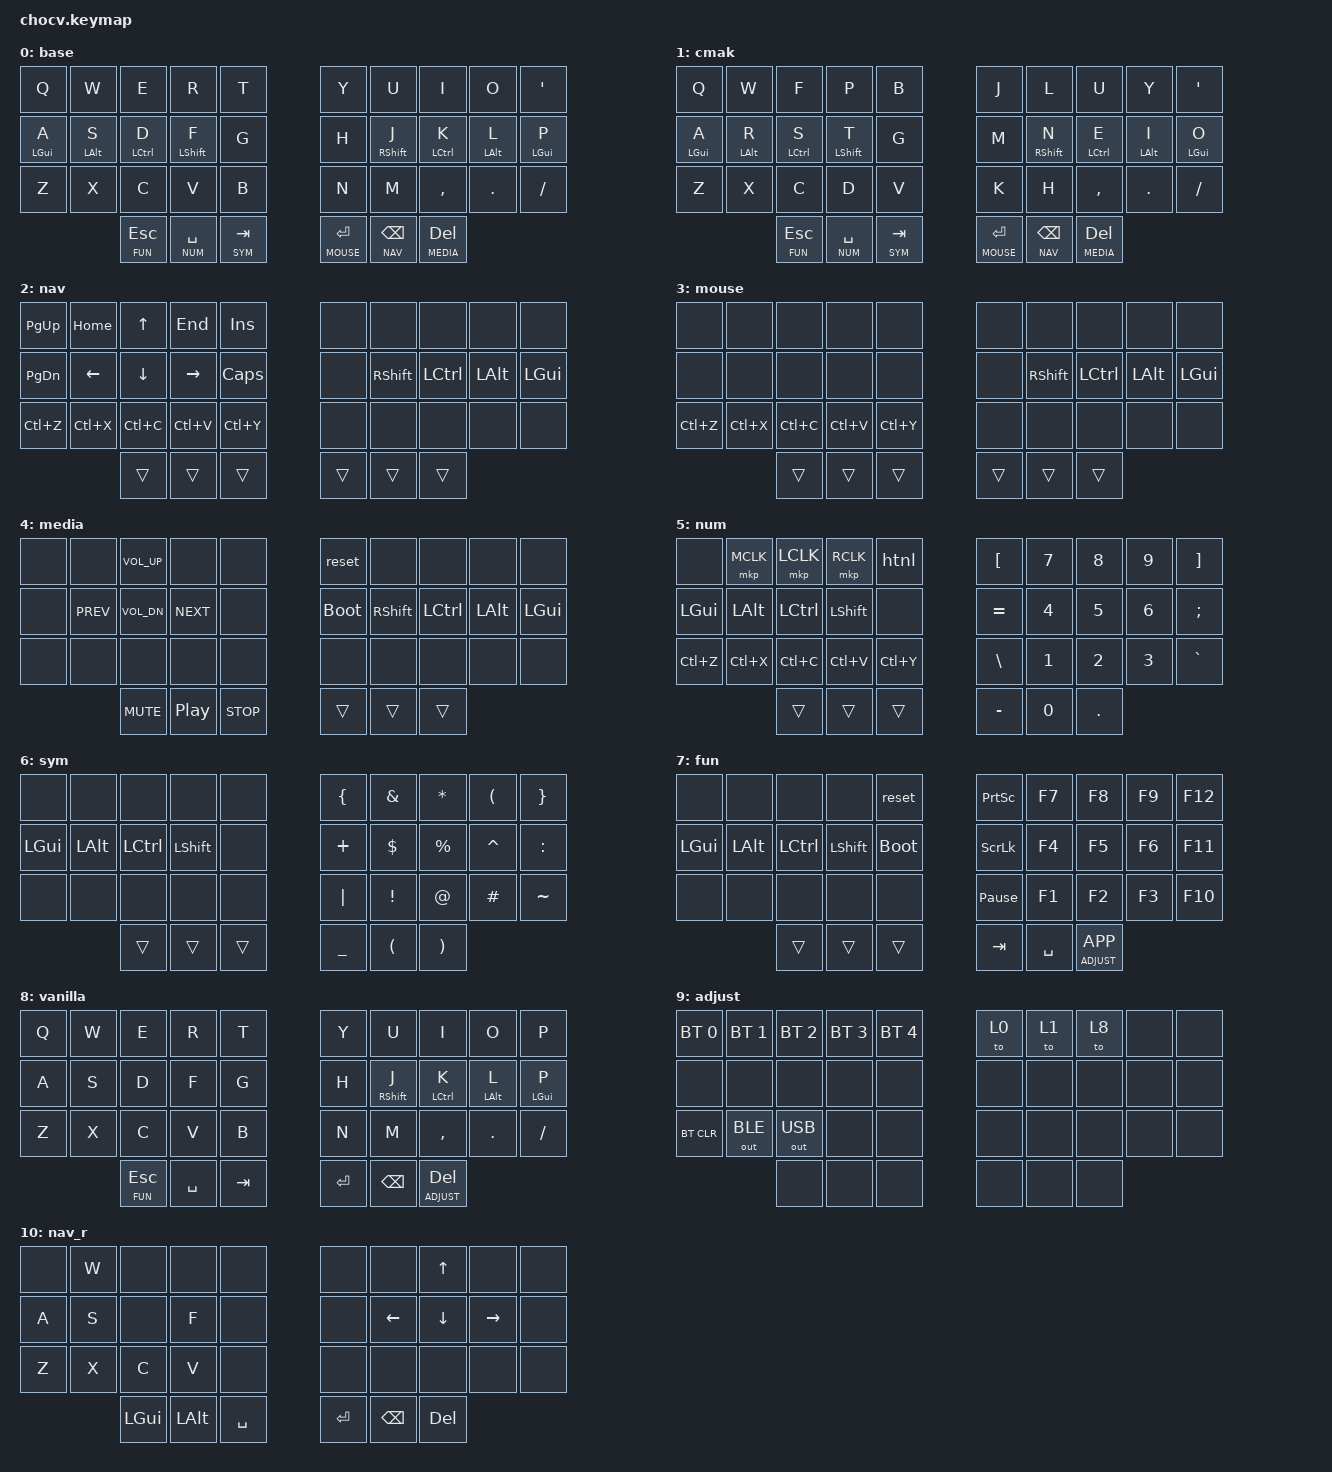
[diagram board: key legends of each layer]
/*
 * Copyright (c) 2020 The ZMK Contributors
 *
 * SPDX-License-Identifier: MIT
 */

#include <behaviors.dtsi>
#include <dt-bindings/zmk/keys.h>
#include <dt-bindings/zmk/bt.h>
#include <dt-bindings/zmk/ext_power.h>
#include <dt-bindings/zmk/outputs.h>
#include <dt-bindings/zmk/mouse.h>

#define BASE    0
#define CMAK    1
#define NAV     2
#define MOUSE   3
#define MEDIA   4
#define NUM     5
#define SYM     6
#define FUN     7
#define VANILLA 8
#define ADJUST  9
#define NAV_R   10

&lt {
    quick_tap_ms = <200>;
};

&mmv {
    time-to-max-speed-ms = <50>;
};

&mwh {
    acceleration-exponent=<1>;
};

/ {
    behaviors {
        hm: homerow_mods {
            compatible = "zmk,behavior-hold-tap";
            label = "HOMEROW_MODS";
            #binding-cells = <2>;
            tapping-term-ms = <200>;
            quick_tap_ms = <200>;
            flavor = "tap-preferred";
            bindings = <&kp>, <&kp>;
        };
    };

    combos {
        compatible = "zmk,combos";
        combo_numlock {
            timeout-ms = <30>;
            key-positions = <31 32>;
            bindings = <&kp KP_NUM>;
        };
    };

    macros {
        htnl: htnl {
            label = "hold_tap_numlock";
            compatible = "zmk,behavior-macro";
            #binding-cells = <0>;
            bindings
                = <&macro_tap &kp KP_NUM>
                , <&macro_pause_for_release>
                , <&macro_tap &kp KP_NUM>
                ;
        };
    };

	keymap {
		compatible = "zmk,keymap";

		base {
			bindings = <
&kp Q           &kp W           &kp E           &kp R           &kp T                                   &kp Y           &kp U           &kp I           &kp O           &kp SQT          
&hm LGUI A      &hm LALT S      &hm LCTRL D     &hm LSHFT F     &kp G                                   &kp H           &hm RSHIFT J    &hm LCTRL K     &hm LALT L      &hm LGUI P   
&kp Z           &kp X           &kp C           &kp V           &kp B                                   &kp N           &kp M           &kp COMMA       &kp DOT         &kp FSLH       
                                &lt FUN ESC     &lt NUM SPACE   &lt SYM TAB                             &lt MOUSE RET   &lt NAV BSPC    &lt MEDIA DEL   
			>;
		};

		cmak {
			bindings = <
&kp Q           &kp W           &kp F           &kp P           &kp B                                   &kp J           &kp L           &kp U           &kp Y           &kp SQT          
&hm LGUI A      &hm LALT R      &hm LCTRL S     &hm LSHFT T     &kp G                                   &kp M           &hm RSHIFT N    &hm LCTRL E     &hm LALT I      &hm LGUI O   
&kp Z           &kp X           &kp C           &kp D           &kp V                                   &kp K           &kp H           &kp COMMA       &kp DOT         &kp FSLH       
                                &lt FUN ESC     &lt NUM SPACE   &lt SYM TAB                             &lt MOUSE RET   &lt NAV BSPC    &lt MEDIA DEL   
			>;
		};

		nav {
			bindings = <
&kp PG_UP       &kp HOME        &kp UP          &kp END         &kp INS                                 &none           &none           &none           &none           &none          
&kp PG_DN       &kp LEFT        &kp DOWN        &kp RIGHT       &kp CAPS                                &none           &kp RSHFT       &kp LCTRL       &kp LALT        &kp LGUI       
&kp LC(Z)       &kp LC(X)       &kp LC(C)       &kp LC(V)       &kp LC(Y)                               &none           &none           &none           &none           &none          
                                &trans          &trans          &trans                                  &trans          &trans          &trans          
			>;
		};

		mouse {
			bindings = <
&none           &none           &none           &none           &none                                   &none           &none           &none           &none           &none          
&none           &none           &none           &none           &none                                   &none           &kp RSHFT       &kp LCTRL       &kp LALT        &kp LGUI       
&kp LC(Z)       &kp LC(X)       &kp LC(C)       &kp LC(V)       &kp LC(Y)                               &none           &none           &none           &none           &none          
                                &trans          &trans          &trans                                  &trans          &trans          &trans          
			>;
		};

		media {
			bindings = <
&none           &none           &kp C_VOL_UP    &none           &none                                   &reset          &none           &none           &none           &none          
&none           &kp C_PREV      &kp C_VOL_DN    &kp C_NEXT      &none                                   &bootloader     &kp RSHFT       &kp LCTRL       &kp LALT        &kp LGUI       
&none           &none           &none           &none           &none                                   &none           &none           &none           &none           &none          
                                &kp C_MUTE      &kp C_PP        &kp C_STOP                              &trans          &trans          &trans          
			>;
		};

		num {
			bindings = <
&none           &mkp MCLK       &mkp LCLK       &mkp RCLK       &htnl                                   &kp LBKT        &kp N7          &kp N8          &kp N9          &kp RBKT       
&kp LGUI        &kp LALT        &kp LCTRL       &kp LSHFT       &none                                   &kp EQUAL       &kp N4          &kp N5          &kp N6          &kp SEMI       
&kp LC(Z)       &kp LC(X)       &kp LC(C)       &kp LC(V)       &kp LC(Y)                               &kp BSLH        &kp N1          &kp N2          &kp N3          &kp GRAVE      
                                &trans          &trans          &trans                                  &kp MINUS       &kp N0          &kp DOT         
			>;
		};

		sym {
			bindings = <
&none           &none           &none           &none           &none                                   &kp LBRC        &kp AMPS        &kp ASTRK       &kp LPAR        &kp RBRC       
&kp LGUI        &kp LALT        &kp LCTRL       &kp LSHFT       &none                                   &kp PLUS        &kp DLLR        &kp PRCNT       &kp CARET       &kp COLON      
&none           &none           &none           &none           &none                                   &kp PIPE        &kp EXCL        &kp AT          &kp HASH        &kp TILDE      
                                &trans          &trans          &trans                                  &kp UNDER       &kp LPAR        &kp RPAR        
			>;
		};

		fun {
			bindings = <
&none           &none           &none           &none           &reset                                  &kp PSCRN       &kp F7          &kp F8          &kp F9          &kp F12        
&kp LGUI        &kp LALT        &kp LCTRL       &kp LSHFT       &bootloader                             &kp SLCK        &kp F4          &kp F5          &kp F6          &kp F11        
&none           &none           &none           &none           &none                                   &kp PAUSE_BREAK &kp F1          &kp F2          &kp F3          &kp F10        
                                &trans          &trans          &trans                                  &kp TAB         &kp SPACE       &lt ADJUST K_APP
			>;
		};

		vanilla {
			bindings = <
&kp Q           &kp W           &kp E           &kp R           &kp T                                   &kp Y           &kp U           &kp I           &kp O           &kp P          
&kp A           &kp S           &kp D           &kp F           &kp G                                   &kp H           &hm RSHIFT J    &hm LCTRL K     &hm LALT L      &hm LGUI P   
&kp Z           &kp X           &kp C           &kp V           &kp B                                   &kp N           &kp M           &kp COMMA       &kp DOT         &kp FSLH
                                &lt FUN ESC     &kp SPACE       &kp TAB                                 &kp RET         &kp BSPC        &lt ADJUST DEL
			>;
		};

		adjust {
			bindings = <
&bt BT_SEL 0    &bt BT_SEL 1    &bt BT_SEL 2    &bt BT_SEL 3    &bt BT_SEL 4                            &to 0           &to 1           &to 8           &none           &none          
&none           &none           &none           &none           &none                                   &none           &none           &none           &none           &none          
&bt BT_CLR      &out OUT_BLE    &out OUT_USB    &none           &none                                   &none           &none           &none           &none           &none          
                                &none           &none           &none                                   &none           &none           &none           
			>;
		};

		nav_r {
			bindings = <
&none           &kp W           &none           &none           &none                                   &none           &none           &kp UP          &none           &none          
&kp A           &kp S           &none           &kp F           &none                                   &none           &kp LEFT        &kp DOWN        &kp RIGHT       &none          
&kp Z           &kp X           &kp C           &kp V           &none                                   &none           &none           &none           &none           &none          
                                &kp LGUI        &kp LALT        &kp SPACE                               &kp RET         &kp BSPC        &kp DEL         
			>;
		};
	};
};
